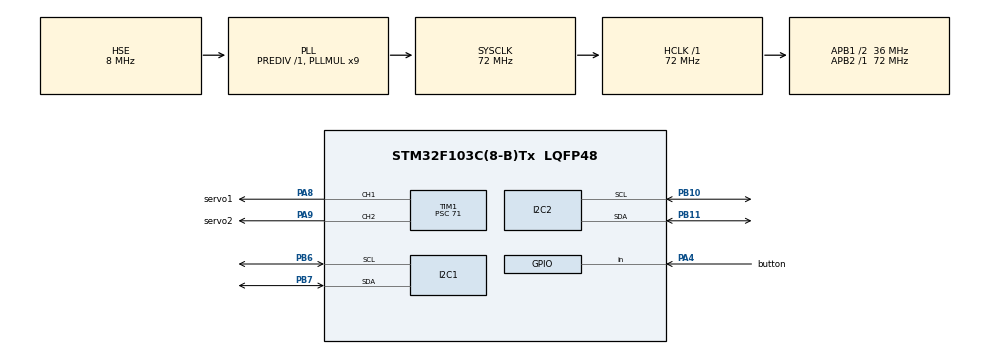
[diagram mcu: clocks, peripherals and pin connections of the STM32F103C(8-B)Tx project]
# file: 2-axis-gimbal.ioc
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Mcu.Family=STM32F1
Mcu.Name=STM32F103C(8-B)Tx
Mcu.Package=LQFP48
NVIC.PriorityGroup=NVIC_PRIORITYGROUP_4
PA13.Mode=Serial_Wire
PA13.Signal=SYS_JTMS-SWDIO
PA14.Mode=Serial_Wire
PA14.Signal=SYS_JTCK-SWCLK
PA4.GPIO_Label=button
PA4.GPIO_PuPd=GPIO_PULLUP
PA4.Signal=GPIO_Input
PA8.GPIO_Label=servo1
PA8.Signal=S_TIM1_CH1
PA9.GPIO_Label=servo2
PA9.Signal=S_TIM1_CH2
PB10.Mode=I2C
PB10.Signal=I2C2_SCL
PB11.Mode=I2C
PB11.Signal=I2C2_SDA
PB6.Mode=I2C
PB6.Signal=I2C1_SCL
PB7.Mode=I2C
PB7.Signal=I2C1_SDA
PC14-OSC32_IN.Mode=LSE-External-Oscillator
PC14-OSC32_IN.Signal=RCC_OSC32_IN
PC15-OSC32_OUT.Mode=LSE-External-Oscillator
PC15-OSC32_OUT.Signal=RCC_OSC32_OUT
PD0-OSC_IN.Mode=HSE-External-Oscillator
PD0-OSC_IN.Signal=RCC_OSC_IN
PD1-OSC_OUT.Mode=HSE-External-Oscillator
PD1-OSC_OUT.Signal=RCC_OSC_OUT
ProjectManager.HeapSize=0x200
ProjectManager.StackSize=0x400
ProjectManager.TargetToolchain=CMake
RCC.AHBFreq_Value=72000000
RCC.APB1CLKDivider=RCC_HCLK_DIV2
RCC.APB1Freq_Value=36000000
RCC.APB1TimFreq_Value=72000000
RCC.APB2Freq_Value=72000000
RCC.APB2TimFreq_Value=72000000
RCC.HCLKFreq_Value=72000000
RCC.PLLMUL=RCC_PLL_MUL9
RCC.PLLSourceVirtual=RCC_PLLSOURCE_HSE
RCC.SYSCLKFreq_VALUE=72000000
RCC.SYSCLKSource=RCC_SYSCLKSOURCE_PLLCLK
RCC.USBFreq_Value=72000000
SH.S_TIM1_CH1.0=TIM1_CH1,PWM Generation1 CH1
SH.S_TIM1_CH2.0=TIM1_CH2,PWM Generation2 CH2
TIM1.Channel-PWM\ Generation1\ CH1=TIM_CHANNEL_1
TIM1.Channel-PWM\ Generation2\ CH2=TIM_CHANNEL_2
TIM1.Period=19999
TIM1.Prescaler=71
VP_TIM1_VS_ClockSourceINT.Mode=Internal
board=custom

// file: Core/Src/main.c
/* USER CODE BEGIN Header */
/**
  ******************************************************************************
  * @file           : main.c
  * @brief          : Main program body
  ******************************************************************************
  * @attention
  *
  * Copyright (c) 2026 STMicroelectronics.
  * All rights reserved.
  *
  * This software is licensed under terms that can be found in the LICENSE file
  * in the root directory of this software component.
  * If no LICENSE file comes with this software, it is provided AS-IS.
  *
  ******************************************************************************
  */
/* USER CODE END Header */
#include "main.h"
#include "i2c.h"
#include "oled.h"
#include "stm32f1xx_hal.h"
#include "stm32f1xx_hal_gpio.h"
#include "tim.h"
#include "gpio.h"

/* USER CODE BEGIN Includes */
#include "OLED.h"
#include <assert.h>
#include<stdbool.h>
#include<math.h>
#include <stdint.h>
#include "MPU.h"
#include "PID.h"
/* USER CODE END Includes */

/* USER CODE BEGIN PTD */
// //云台模式选择
// typedef enum
// {
//   Gimbal_Mode_Normal = 0,
//   Gimbal_Mode_PID
// }GimbalMode;
/* USER CODE END PTD */

/* USER CODE BEGIN PV */
float yaw = 90.0f, pitch = 90.0f;    //偏航角、俯仰角

// static PID_TypeDef PID_Yaw;
// static PID_TypeDef PID_Pitch;
/* USER CODE END PV */
void SystemClock_Config(void);
/* USER CODE BEGIN PFP */
// GimbalMode Read_Button(GPIO_TypeDef *Port, uint16_t Pin, GPIO_PinState CurrentState, GPIO_PinState CandidateState);    //读取按键状态
/* USER CODE END PFP */

int main(void)
{

  /* MCU Configuration--------------------------------------------------------*/

  /* Reset of all peripherals, Initializes the Flash interface and the Systick. */
  HAL_Init();

  /* Configure the system clock */
  SystemClock_Config();

  /* Initialize all configured peripherals */
  MX_GPIO_Init();
  MX_I2C1_Init();
  MX_I2C2_Init();
  MX_TIM1_Init();
  /* USER CODE BEGIN 2 */
  Wake_MPU();    //唤醒MPU6050

  OLED_Init();    //初始化OLED
  OLED_Clear();    //清屏
  OLED_ShowString(0, 0, "Yaw:", 16, 0);
  OLED_ShowString(0, 2, "Pitch:", 16, 0);

  HAL_TIM_PWM_Start(&htim1, TIM_CHANNEL_1);    //启动偏航舵机PWM
  HAL_TIM_PWM_Start(&htim1, TIM_CHANNEL_2);    //启动俯仰舵机PWM

  /* USER CODE END 2 */

  /* Infinite loop */
  /* USER CODE BEGIN WHILE */
  while (1)
  {
    Calculate_Oula();    //计算欧拉角

    //限制偏航角的范围
    if (yaw < 0.0f)
    {
      yaw = 0.0f;
    }
    if (yaw > 180.0f)
    {
      yaw = 180.0f;
    }

    //限制俯仰角的范围
    if (pitch < 60.0f)
    {
      pitch = 60.0f;
    }
    if (pitch > 120.0f)
    {
      pitch = 120.0f;
    }

    uint8_t Yaw_Angle;    //普通模式偏航舵机角度
    uint8_t Pitch_Angle;    //普通模式俯仰舵机角度

    Yaw_Angle = (uint8_t)(yaw);    //将偏航角转换为偏航舵机角度
    Pitch_Angle = (uint8_t)(pitch);    //将俯仰角转换为俯仰舵机角度

    control_Yaw_Angle(Yaw_Angle);
    control_Pitch_Angle(Pitch_Angle);

    OLED_ShowNum(32, 0, Yaw_Angle, 3, 16, 0);
    OLED_ShowNum(48, 2, Pitch_Angle, 3, 16, 0);

    /* USER CODE END WHILE */

  }
}

void SystemClock_Config(void)
{
  RCC_OscInitTypeDef RCC_OscInitStruct = {0};
  RCC_ClkInitTypeDef RCC_ClkInitStruct = {0};

  /** Initializes the RCC Oscillators according to the specified parameters
  * in the RCC_OscInitTypeDef structure.
  */
  RCC_OscInitStruct.OscillatorType = RCC_OSCILLATORTYPE_HSE;
  RCC_OscInitStruct.HSEState = RCC_HSE_ON;
  RCC_OscInitStruct.HSEPredivValue = RCC_HSE_PREDIV_DIV1;
  RCC_OscInitStruct.HSIState = RCC_HSI_ON;
  RCC_OscInitStruct.PLL.PLLState = RCC_PLL_ON;
  RCC_OscInitStruct.PLL.PLLSource = RCC_PLLSOURCE_HSE;
  RCC_OscInitStruct.PLL.PLLMUL = RCC_PLL_MUL9;
  if (HAL_RCC_OscConfig(&RCC_OscInitStruct) != HAL_OK)
  {
    Error_Handler();
  }

  /** Initializes the CPU, AHB and APB buses clocks
  */
  RCC_ClkInitStruct.ClockType = RCC_CLOCKTYPE_HCLK|RCC_CLOCKTYPE_SYSCLK
                              |RCC_CLOCKTYPE_PCLK1|RCC_CLOCKTYPE_PCLK2;
  RCC_ClkInitStruct.SYSCLKSource = RCC_SYSCLKSOURCE_PLLCLK;
  RCC_ClkInitStruct.AHBCLKDivider = RCC_SYSCLK_DIV1;
  RCC_ClkInitStruct.APB1CLKDivider = RCC_HCLK_DIV2;
  RCC_ClkInitStruct.APB2CLKDivider = RCC_HCLK_DIV1;

  if (HAL_RCC_ClockConfig(&RCC_ClkInitStruct, FLASH_LATENCY_2) != HAL_OK)
  {
    Error_Handler();
  }
}

/* USER CODE BEGIN 4 */
//用状态机消抖的方式读取按键的状态
// GimbalMode Read_Button(GPIO_TypeDef *Port, uint16_t Pin, GPIO_PinState CurrentState, GPIO_PinState CandidateState)
// {

//   uint32_t CandidateTime = 0U;  //出现候选状态的时间

//   GPIO_PinState NowState = HAL_GPIO_ReadPin(Port, Pin);    //按键现在的状态
//   uint32_t NowTime = HAL_GetTick();   //现在的时间

//   //检测到候选电平改变
//   if(NowState != CandidateState)
//   {
//     CandidateState = NowState;
//     CandidateTime = NowTime;
//   }
//   else if((CandidateState != CurrentState) && (NowTime - CandidateTime) >= 20U)
//   {
//     CurrentState = CandidateState;
//   }

//   return (CurrentState == GPIO_PIN_RESET) ? Gimbal_Mode_PID : Gimbal_Mode_Normal;
// }

/* USER CODE END 4 */

void Error_Handler(void)
{
  __disable_irq();
  while (1)
  {
  }
}
